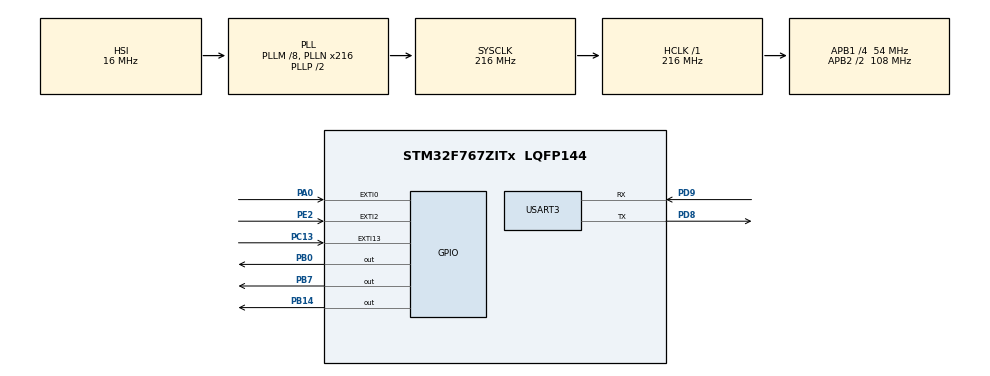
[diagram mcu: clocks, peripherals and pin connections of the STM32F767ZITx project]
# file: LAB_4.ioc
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CORTEX_M7.default_mode_Activation=1
Mcu.Family=STM32F7
Mcu.Name=STM32F767ZITx
Mcu.Package=LQFP144
NVIC.EXTI0_IRQn=true\:2\:0\:true\:false\:true\:true\:true\:true
NVIC.EXTI15_10_IRQn=true\:2\:2\:true\:false\:true\:true\:true\:true
NVIC.EXTI2_IRQn=true\:2\:2\:true\:false\:true\:true\:true\:true
NVIC.PriorityGroup=NVIC_PRIORITYGROUP_2
PA0/WKUP.GPIO_ModeDefaultEXTI=GPIO_MODE_IT_FALLING
PA0/WKUP.GPIO_PuPd=GPIO_NOPULL
PA0/WKUP.Signal=GPXTI0
PB0.Signal=GPIO_Output
PB14.Signal=GPIO_Output
PB7.Signal=GPIO_Output
PC13.GPIO_ModeDefaultEXTI=GPIO_MODE_IT_RISING
PC13.Signal=GPXTI13
PD8.Mode=Asynchronous
PD8.Signal=USART3_TX
PD9.Mode=Asynchronous
PD9.Signal=USART3_RX
PE2.GPIO_ModeDefaultEXTI=GPIO_MODE_IT_FALLING
PE2.Signal=GPXTI2
ProjectManager.HeapSize=0x200
ProjectManager.StackSize=0x400
ProjectManager.TargetToolchain=STM32CubeIDE
RCC.AHBFreq_Value=216000000
RCC.APB1CLKDivider=RCC_HCLK_DIV4
RCC.APB1Freq_Value=54000000
RCC.APB1TimFreq_Value=108000000
RCC.APB2CLKDivider=RCC_HCLK_DIV2
RCC.APB2Freq_Value=108000000
RCC.APB2TimFreq_Value=216000000
RCC.CortexFreq_Value=216000000
RCC.HCLKFreq_Value=216000000
RCC.HSE_VALUE=25000000
RCC.HSI_VALUE=16000000
RCC.LSE_VALUE=32768
RCC.PLLM=8
RCC.PLLN=216
RCC.SYSCLKFreq_VALUE=216000000
RCC.SYSCLKSource=RCC_SYSCLKSOURCE_PLLCLK
RCC.USBFreq_Value=216000000
RCC.VCOOutputFreq_Value=432000000
USART3.VirtualMode-Asynchronous=VM_ASYNC
board=custom

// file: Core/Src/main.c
/* USER CODE BEGIN Header */
/**
  ******************************************************************************
  * @file           : main.c
  * @brief          : Main program body
  ******************************************************************************
  * @attention
  *
  * Copyright (c) 2025 STMicroelectronics.
  * All rights reserved.
  *
  * This software is licensed under terms that can be found in the LICENSE file
  * in the root directory of this software component.
  * If no LICENSE file comes with this software, it is provided AS-IS.
  *
  ******************************************************************************
  */
/* USER CODE END Header */
#include "main.h"

UART_HandleTypeDef huart3;

void SystemClock_Config(void);
static void MPU_Config(void);
static void MX_GPIO_Init(void);
static void MX_USART3_UART_Init(void);

int main(void)
{

  /* MPU Configuration--------------------------------------------------------*/
  MPU_Config();

  /* MCU Configuration--------------------------------------------------------*/

  /* Reset of all peripherals, Initializes the Flash interface and the Systick. */
  HAL_Init();

  /* Configure the system clock */
  SystemClock_Config();

  /* Initialize all configured peripherals */
  MX_GPIO_Init();
  MX_USART3_UART_Init();

  /* Infinite loop */
  while (1)
  {

    /* USER CODE BEGIN 3 */
	HAL_UART_Transmit(&huart3, (uint8_t *) ".", 1, 100);
	HAL_Delay(400);
  }
  /* USER CODE END 3 */
}

void SystemClock_Config(void)
{
  RCC_OscInitTypeDef RCC_OscInitStruct = {0};
  RCC_ClkInitTypeDef RCC_ClkInitStruct = {0};

  /** Configure the main internal regulator output voltage
  */
  __HAL_RCC_PWR_CLK_ENABLE();
  __HAL_PWR_VOLTAGESCALING_CONFIG(PWR_REGULATOR_VOLTAGE_SCALE1);

  /** Initializes the RCC Oscillators according to the specified parameters
  * in the RCC_OscInitTypeDef structure.
  */
  RCC_OscInitStruct.OscillatorType = RCC_OSCILLATORTYPE_HSI;
  RCC_OscInitStruct.HSIState = RCC_HSI_ON;
  RCC_OscInitStruct.HSICalibrationValue = RCC_HSICALIBRATION_DEFAULT;
  RCC_OscInitStruct.PLL.PLLState = RCC_PLL_ON;
  RCC_OscInitStruct.PLL.PLLSource = RCC_PLLSOURCE_HSI;
  RCC_OscInitStruct.PLL.PLLM = 8;
  RCC_OscInitStruct.PLL.PLLN = 216;
  RCC_OscInitStruct.PLL.PLLP = RCC_PLLP_DIV2;
  RCC_OscInitStruct.PLL.PLLQ = 2;
  RCC_OscInitStruct.PLL.PLLR = 2;
  if (HAL_RCC_OscConfig(&RCC_OscInitStruct) != HAL_OK)
  {
    Error_Handler();
  }

  /** Activate the Over-Drive mode
  */
  if (HAL_PWREx_EnableOverDrive() != HAL_OK)
  {
    Error_Handler();
  }

  /** Initializes the CPU, AHB and APB buses clocks
  */
  RCC_ClkInitStruct.ClockType = RCC_CLOCKTYPE_HCLK|RCC_CLOCKTYPE_SYSCLK
                              |RCC_CLOCKTYPE_PCLK1|RCC_CLOCKTYPE_PCLK2;
  RCC_ClkInitStruct.SYSCLKSource = RCC_SYSCLKSOURCE_PLLCLK;
  RCC_ClkInitStruct.AHBCLKDivider = RCC_SYSCLK_DIV1;
  RCC_ClkInitStruct.APB1CLKDivider = RCC_HCLK_DIV4;
  RCC_ClkInitStruct.APB2CLKDivider = RCC_HCLK_DIV2;

  if (HAL_RCC_ClockConfig(&RCC_ClkInitStruct, FLASH_LATENCY_7) != HAL_OK)
  {
    Error_Handler();
  }
}

static void MX_USART3_UART_Init(void)
{

  huart3.Instance = USART3;
  huart3.Init.BaudRate = 115200;
  huart3.Init.WordLength = UART_WORDLENGTH_8B;
  huart3.Init.StopBits = UART_STOPBITS_1;
  huart3.Init.Parity = UART_PARITY_NONE;
  huart3.Init.Mode = UART_MODE_TX_RX;
  huart3.Init.HwFlowCtl = UART_HWCONTROL_NONE;
  huart3.Init.OverSampling = UART_OVERSAMPLING_16;
  huart3.Init.OneBitSampling = UART_ONE_BIT_SAMPLE_DISABLE;
  huart3.AdvancedInit.AdvFeatureInit = UART_ADVFEATURE_NO_INIT;
  if (HAL_UART_Init(&huart3) != HAL_OK)
  {
    Error_Handler();
  }

}

static void MX_GPIO_Init(void)
{
  GPIO_InitTypeDef GPIO_InitStruct = {0};

  /* GPIO Ports Clock Enable */
  __HAL_RCC_GPIOE_CLK_ENABLE();
  __HAL_RCC_GPIOC_CLK_ENABLE();
  __HAL_RCC_GPIOA_CLK_ENABLE();
  __HAL_RCC_GPIOB_CLK_ENABLE();
  __HAL_RCC_GPIOD_CLK_ENABLE();

  /*Configure GPIO pin Output Level */
  HAL_GPIO_WritePin(GPIOB, GPIO_PIN_0|GPIO_PIN_14|GPIO_PIN_7, GPIO_PIN_RESET);

  /*Configure GPIO pin : PE2 */
  GPIO_InitStruct.Pin = GPIO_PIN_2;
  GPIO_InitStruct.Mode = GPIO_MODE_IT_FALLING;
  GPIO_InitStruct.Pull = GPIO_NOPULL;
  HAL_GPIO_Init(GPIOE, &GPIO_InitStruct);

  /*Configure GPIO pin : PC13 */
  GPIO_InitStruct.Pin = GPIO_PIN_13;
  GPIO_InitStruct.Mode = GPIO_MODE_IT_RISING;
  GPIO_InitStruct.Pull = GPIO_NOPULL;
  HAL_GPIO_Init(GPIOC, &GPIO_InitStruct);

  /*Configure GPIO pin : PA0 */
  GPIO_InitStruct.Pin = GPIO_PIN_0;
  GPIO_InitStruct.Mode = GPIO_MODE_IT_FALLING;
  GPIO_InitStruct.Pull = GPIO_NOPULL;
  HAL_GPIO_Init(GPIOA, &GPIO_InitStruct);

  /*Configure GPIO pins : PB0 PB14 PB7 */
  GPIO_InitStruct.Pin = GPIO_PIN_0|GPIO_PIN_14|GPIO_PIN_7;
  GPIO_InitStruct.Mode = GPIO_MODE_OUTPUT_PP;
  GPIO_InitStruct.Pull = GPIO_NOPULL;
  GPIO_InitStruct.Speed = GPIO_SPEED_FREQ_LOW;
  HAL_GPIO_Init(GPIOB, &GPIO_InitStruct);

  /* EXTI interrupt init*/
  HAL_NVIC_SetPriority(EXTI0_IRQn, 2, 0);
  HAL_NVIC_EnableIRQ(EXTI0_IRQn);

  HAL_NVIC_SetPriority(EXTI2_IRQn, 2, 2);
  HAL_NVIC_EnableIRQ(EXTI2_IRQn);

  HAL_NVIC_SetPriority(EXTI15_10_IRQn, 2, 2);
  HAL_NVIC_EnableIRQ(EXTI15_10_IRQn);

}

/* USER CODE BEGIN 4 */
void HAL_GPIO_EXTI_Callback(uint16_t GPIO_Pin)
{
	if (GPIO_Pin == GPIO_PIN_13)
	{
		HAL_UART_Transmit(&huart3, (uint8_t *) "---", 3, 100);
		HAL_Delay(200);

		for (uint8_t i=0; i < 20; i++) {
			HAL_UART_Transmit(&huart3, (uint8_t *) "B", 1, 100);
			HAL_Delay(200);
		}
	}

	if (GPIO_Pin == GPIO_PIN_0)
	{
		HAL_UART_Transmit(&huart3, (uint8_t *) "---", 3, 100);
		HAL_Delay(200);

		for (uint8_t i=0; i < 20; i++) {
			HAL_UART_Transmit(&huart3, (uint8_t *) "A", 1, 100);
			HAL_Delay(200);
		}
	}

	if (GPIO_Pin == GPIO_PIN_2)
	{
		HAL_UART_Transmit(&huart3, (uint8_t *) "---", 3, 100);
		HAL_Delay(200);

		for (uint8_t i=0; i < 20; i++) {
			HAL_UART_Transmit(&huart3, (uint8_t *) "E", 1, 100);
			HAL_Delay(200);
		}
	}
}
/* USER CODE END 4 */

 /* MPU Configuration */

void MPU_Config(void)
{
  MPU_Region_InitTypeDef MPU_InitStruct = {0};

  /* Disables the MPU */
  HAL_MPU_Disable();

  /** Initializes and configures the Region and the memory to be protected
  */
  MPU_InitStruct.Enable = MPU_REGION_ENABLE;
  MPU_InitStruct.Number = MPU_REGION_NUMBER0;
  MPU_InitStruct.BaseAddress = 0x0;
  MPU_InitStruct.Size = MPU_REGION_SIZE_4GB;
  MPU_InitStruct.SubRegionDisable = 0x87;
  MPU_InitStruct.TypeExtField = MPU_TEX_LEVEL0;
  MPU_InitStruct.AccessPermission = MPU_REGION_NO_ACCESS;
  MPU_InitStruct.DisableExec = MPU_INSTRUCTION_ACCESS_DISABLE;
  MPU_InitStruct.IsShareable = MPU_ACCESS_SHAREABLE;
  MPU_InitStruct.IsCacheable = MPU_ACCESS_NOT_CACHEABLE;
  MPU_InitStruct.IsBufferable = MPU_ACCESS_NOT_BUFFERABLE;

  HAL_MPU_ConfigRegion(&MPU_InitStruct);
  /* Enables the MPU */
  HAL_MPU_Enable(MPU_PRIVILEGED_DEFAULT);

}

void Error_Handler(void)
{
  __disable_irq();
  while (1)
  {
  }
}
